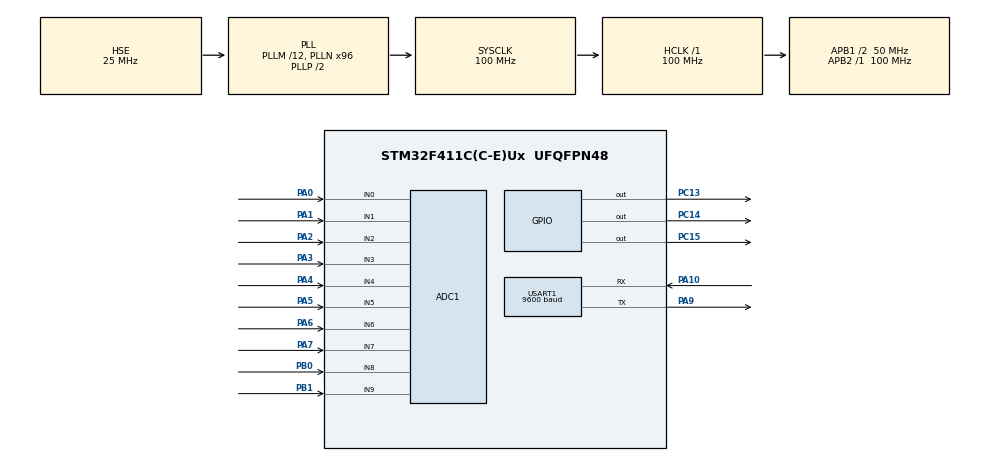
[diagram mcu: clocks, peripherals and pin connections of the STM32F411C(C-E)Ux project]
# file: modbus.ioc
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ADC1.Channel-0\#ChannelRegularConversion=ADC_CHANNEL_VREFINT
ADC1.Channel-1\#ChannelRegularConversion=ADC_CHANNEL_0
ADC1.Channel-10\#ChannelRegularConversion=ADC_CHANNEL_9
ADC1.Channel-2\#ChannelRegularConversion=ADC_CHANNEL_1
ADC1.Channel-3\#ChannelRegularConversion=ADC_CHANNEL_2
ADC1.Channel-4\#ChannelRegularConversion=ADC_CHANNEL_3
ADC1.Channel-5\#ChannelRegularConversion=ADC_CHANNEL_4
ADC1.Channel-6\#ChannelRegularConversion=ADC_CHANNEL_5
ADC1.Channel-7\#ChannelRegularConversion=ADC_CHANNEL_6
ADC1.Channel-8\#ChannelRegularConversion=ADC_CHANNEL_7
ADC1.Channel-9\#ChannelRegularConversion=ADC_CHANNEL_8
ADC1.ContinuousConvMode=ENABLE
ADC1.DMAContinuousRequests=ENABLE
ADC1.NbrOfConversion=11
ADC1.NbrOfConversionFlag=1
ADC1.Rank-0\#ChannelRegularConversion=1
ADC1.Rank-1\#ChannelRegularConversion=2
ADC1.Rank-10\#ChannelRegularConversion=11
ADC1.Rank-2\#ChannelRegularConversion=3
ADC1.Rank-3\#ChannelRegularConversion=4
ADC1.Rank-4\#ChannelRegularConversion=5
ADC1.Rank-5\#ChannelRegularConversion=6
ADC1.Rank-6\#ChannelRegularConversion=7
ADC1.Rank-7\#ChannelRegularConversion=8
ADC1.Rank-8\#ChannelRegularConversion=9
ADC1.Rank-9\#ChannelRegularConversion=10
ADC1.SamplingTime-0\#ChannelRegularConversion=ADC_SAMPLETIME_15CYCLES
ADC1.SamplingTime-1\#ChannelRegularConversion=ADC_SAMPLETIME_15CYCLES
ADC1.SamplingTime-10\#ChannelRegularConversion=ADC_SAMPLETIME_15CYCLES
ADC1.SamplingTime-2\#ChannelRegularConversion=ADC_SAMPLETIME_15CYCLES
ADC1.SamplingTime-3\#ChannelRegularConversion=ADC_SAMPLETIME_15CYCLES
ADC1.SamplingTime-4\#ChannelRegularConversion=ADC_SAMPLETIME_15CYCLES
ADC1.SamplingTime-5\#ChannelRegularConversion=ADC_SAMPLETIME_15CYCLES
ADC1.SamplingTime-6\#ChannelRegularConversion=ADC_SAMPLETIME_15CYCLES
ADC1.SamplingTime-7\#ChannelRegularConversion=ADC_SAMPLETIME_15CYCLES
ADC1.SamplingTime-8\#ChannelRegularConversion=ADC_SAMPLETIME_15CYCLES
ADC1.SamplingTime-9\#ChannelRegularConversion=ADC_SAMPLETIME_15CYCLES
ADC1.ScanConvMode=ENABLE
ADC1.master=1
Dma.ADC1.0.Direction=DMA_PERIPH_TO_MEMORY
Dma.ADC1.0.FIFOMode=DMA_FIFOMODE_DISABLE
Dma.ADC1.0.Instance=DMA2_Stream0
Dma.ADC1.0.MemDataAlignment=DMA_MDATAALIGN_HALFWORD
Dma.ADC1.0.MemInc=DMA_MINC_ENABLE
Dma.ADC1.0.Mode=DMA_CIRCULAR
Dma.ADC1.0.PeriphDataAlignment=DMA_PDATAALIGN_HALFWORD
Dma.ADC1.0.PeriphInc=DMA_PINC_DISABLE
Dma.ADC1.0.Priority=DMA_PRIORITY_LOW
Dma.Request0=ADC1
Dma.Request1=USART1_RX
Dma.USART1_RX.1.Direction=DMA_PERIPH_TO_MEMORY
Dma.USART1_RX.1.FIFOMode=DMA_FIFOMODE_DISABLE
Dma.USART1_RX.1.Instance=DMA2_Stream2
Dma.USART1_RX.1.MemDataAlignment=DMA_MDATAALIGN_BYTE
Dma.USART1_RX.1.MemInc=DMA_MINC_ENABLE
Dma.USART1_RX.1.Mode=DMA_CIRCULAR
Dma.USART1_RX.1.PeriphDataAlignment=DMA_PDATAALIGN_BYTE
Dma.USART1_RX.1.PeriphInc=DMA_PINC_DISABLE
Dma.USART1_RX.1.Priority=DMA_PRIORITY_LOW
Mcu.Family=STM32F4
Mcu.Name=STM32F411C(C-E)Ux
Mcu.Package=UFQFPN48
NVIC.DMA2_Stream0_IRQn=true\:0\:0\:false\:false\:true\:false\:true\:true
NVIC.DMA2_Stream2_IRQn=true\:0\:0\:false\:false\:true\:false\:true\:true
NVIC.PriorityGroup=NVIC_PRIORITYGROUP_4
NVIC.USART1_IRQn=true\:0\:0\:false\:false\:true\:true\:true\:true
PA0-WKUP.Signal=ADCx_IN0
PA1.Signal=ADCx_IN1
PA10.Mode=Asynchronous
PA10.Signal=USART1_RX
PA2.Signal=ADCx_IN2
PA3.Signal=ADCx_IN3
PA4.Signal=ADCx_IN4
PA5.Signal=ADCx_IN5
PA6.Signal=ADCx_IN6
PA7.Signal=ADCx_IN7
PA9.Mode=Asynchronous
PA9.Signal=USART1_TX
PB0.Signal=ADCx_IN8
PB1.Signal=ADCx_IN9
PC13-ANTI_TAMP.Signal=GPIO_Output
PC14-OSC32_IN.Signal=GPIO_Output
PC15-OSC32_OUT.Signal=GPIO_Output
PH0\ -\ OSC_IN.Mode=HSE-External-Oscillator
PH0\ -\ OSC_IN.Signal=RCC_OSC_IN
PH1\ -\ OSC_OUT.Mode=HSE-External-Oscillator
PH1\ -\ OSC_OUT.Signal=RCC_OSC_OUT
ProjectManager.HeapSize=0x200
ProjectManager.StackSize=0x400
ProjectManager.TargetToolchain=STM32CubeIDE
RCC.48MHZClocksFreq_Value=50000000
RCC.AHBFreq_Value=100000000
RCC.APB1CLKDivider=RCC_HCLK_DIV2
RCC.APB1Freq_Value=50000000
RCC.APB1TimFreq_Value=100000000
RCC.APB2Freq_Value=100000000
RCC.APB2TimFreq_Value=100000000
RCC.CortexFreq_Value=100000000
RCC.HCLKFreq_Value=100000000
RCC.HSE_VALUE=25000000
RCC.HSI_VALUE=16000000
RCC.LSE_VALUE=32768
RCC.PLLM=12
RCC.PLLN=96
RCC.PLLSourceVirtual=RCC_PLLSOURCE_HSE
RCC.SYSCLKFreq_VALUE=100000000
RCC.SYSCLKSource=RCC_SYSCLKSOURCE_PLLCLK
RCC.VCOOutputFreq_Value=200000000
SH.ADCx_IN0.0=ADC1_IN0,IN0
SH.ADCx_IN1.0=ADC1_IN1,IN1
SH.ADCx_IN2.0=ADC1_IN2,IN2
SH.ADCx_IN3.0=ADC1_IN3,IN3
SH.ADCx_IN4.0=ADC1_IN4,IN4
SH.ADCx_IN5.0=ADC1_IN5,IN5
SH.ADCx_IN6.0=ADC1_IN6,IN6
SH.ADCx_IN7.0=ADC1_IN7,IN7
SH.ADCx_IN8.0=ADC1_IN8,IN8
SH.ADCx_IN9.0=ADC1_IN9,IN9
USART1.BaudRate=9600
USART1.VirtualMode=VM_ASYNC
VP_ADC1_Vref_Input.Mode=IN-Vrefint
VP_TIM10_VS_ClockSourceINT.Mode=Enable_Timer
board=custom

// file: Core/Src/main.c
/* USER CODE BEGIN Header */
/**
  ******************************************************************************
  * @file           : main.c
  * @brief          : Main program body
  ******************************************************************************
  * @attention
  *
  * Copyright (c) 2024 STMicroelectronics.
  * All rights reserved.
  *
  * This software is licensed under terms that can be found in the LICENSE file
  * in the root directory of this software component.
  * If no LICENSE file comes with this software, it is provided AS-IS.
  *
  ******************************************************************************
  */
/* USER CODE END Header */
#include "main.h"
#include "adc.h"
#include "dma.h"
#include "tim.h"
#include "usart.h"
#include "gpio.h"

/* USER CODE BEGIN Includes */
#include "modbus.h"
#define ADC_CHANNELS 11          //adc通道数量
#define MODBUS_RX_BUFFER_SIZE 256  // 缓冲区以支持不同长度的数据

uint8_t modbusRxBuffer[MODBUS_RX_BUFFER_SIZE];//串口接收缓冲区
uint16_t inputregister[ADC_CHANNELS];//adc数组
uint8_t coils[3];//线圈数组
/* USER CODE END Includes */

void SystemClock_Config(void);

/* USER CODE BEGIN 0 */
extern DMA_HandleTypeDef hdma_usart1_rx;
/* USER CODE END 0 */

int main(void)
{

  /* MCU Configuration--------------------------------------------------------*/

  /* Reset of all peripherals, Initializes the Flash interface and the Systick. */
  HAL_Init();

  /* Configure the system clock */
  SystemClock_Config();

  /* Initialize all configured peripherals */
  MX_GPIO_Init();
  MX_DMA_Init();
  MX_ADC1_Init();
  MX_USART1_UART_Init();
  MX_TIM10_Init();
  /* USER CODE BEGIN 2 */
    // 启动 ADC 和 DMA
    HAL_ADC_Start_DMA(&hadc1, (uint32_t*)inputregister, ADC_CHANNELS);
    // 启动 UART 接收中断
    __HAL_UART_ENABLE_IT(&huart1, UART_IT_IDLE); // 启用空闲中断
    HAL_UART_Receive_DMA(&huart1, modbusRxBuffer, MODBUS_RX_BUFFER_SIZE);
  /* USER CODE END 2 */

  /* Infinite loop */
    while (1)
    {

    }
}

void SystemClock_Config(void)
{
  RCC_OscInitTypeDef RCC_OscInitStruct = {0};
  RCC_ClkInitTypeDef RCC_ClkInitStruct = {0};

  /** Configure the main internal regulator output voltage
  */
  __HAL_RCC_PWR_CLK_ENABLE();
  __HAL_PWR_VOLTAGESCALING_CONFIG(PWR_REGULATOR_VOLTAGE_SCALE1);

  /** Initializes the RCC Oscillators according to the specified parameters
  * in the RCC_OscInitTypeDef structure.
  */
  RCC_OscInitStruct.OscillatorType = RCC_OSCILLATORTYPE_HSE;
  RCC_OscInitStruct.HSEState = RCC_HSE_ON;
  RCC_OscInitStruct.PLL.PLLState = RCC_PLL_ON;
  RCC_OscInitStruct.PLL.PLLSource = RCC_PLLSOURCE_HSE;
  RCC_OscInitStruct.PLL.PLLM = 12;
  RCC_OscInitStruct.PLL.PLLN = 96;
  RCC_OscInitStruct.PLL.PLLP = RCC_PLLP_DIV2;
  RCC_OscInitStruct.PLL.PLLQ = 4;
  if (HAL_RCC_OscConfig(&RCC_OscInitStruct) != HAL_OK)
  {
    Error_Handler();
  }

  /** Initializes the CPU, AHB and APB buses clocks
  */
  RCC_ClkInitStruct.ClockType = RCC_CLOCKTYPE_HCLK|RCC_CLOCKTYPE_SYSCLK
                              |RCC_CLOCKTYPE_PCLK1|RCC_CLOCKTYPE_PCLK2;
  RCC_ClkInitStruct.SYSCLKSource = RCC_SYSCLKSOURCE_PLLCLK;
  RCC_ClkInitStruct.AHBCLKDivider = RCC_SYSCLK_DIV1;
  RCC_ClkInitStruct.APB1CLKDivider = RCC_HCLK_DIV2;
  RCC_ClkInitStruct.APB2CLKDivider = RCC_HCLK_DIV1;

  if (HAL_RCC_ClockConfig(&RCC_ClkInitStruct, FLASH_LATENCY_3) != HAL_OK)
  {
    Error_Handler();
  }
}

/* USER CODE BEGIN 4 */
void updateGPIO(void) {
    // 控制 GPIO PC13
    if (coils[0] == 1) {
        HAL_GPIO_WritePin(GPIOC, GPIO_PIN_13, GPIO_PIN_SET); // 设置为高电平
    } else {
        HAL_GPIO_WritePin(GPIOC, GPIO_PIN_13, GPIO_PIN_RESET); // 设置为低电平
    }

    // 控制 GPIO PC14
    if (coils[1] == 1) {
        HAL_GPIO_WritePin(GPIOC, GPIO_PIN_14, GPIO_PIN_SET); // 设置为高电平
    } else {
        HAL_GPIO_WritePin(GPIOC, GPIO_PIN_14, GPIO_PIN_RESET); // 设置为低电平
    }

    // 控制 GPIO PC15
    if (coils[2] == 1) {
        HAL_GPIO_WritePin(GPIOC, GPIO_PIN_15, GPIO_PIN_SET); // 设置为高电平
    } else {
        HAL_GPIO_WritePin(GPIOC, GPIO_PIN_15, GPIO_PIN_RESET); // 设置为低电平
    }
}
// 空闲中断回调函数
void HAL_UART_IDLE_Callback(UART_HandleTypeDef *huart) {
    if (huart->Instance == USART1) {
        __HAL_UART_CLEAR_IDLEFLAG(huart); // 清除空闲中断标志位

        // 计算接收到的数据长度
        uint16_t length = MODBUS_RX_BUFFER_SIZE - __HAL_DMA_GET_COUNTER(&hdma_usart1_rx);

        // 确保前几个字节已被更新
        if (length > 0) {
            // 数据处理
            modbus_process(modbusRxBuffer, inputregister, coils, huart);

            // 更新 GPIO 状态
            updateGPIO();
        }
        // 暂停 DMA 接收
        HAL_UART_DMAStop(huart);
        // 重新启动 UART 接收 DMA
        HAL_UART_Receive_DMA(&huart1, modbusRxBuffer, MODBUS_RX_BUFFER_SIZE);
    }
}
/* USER CODE END 4 */

void Error_Handler(void)
{
    __disable_irq();
    while (1)
    {
    }
}
